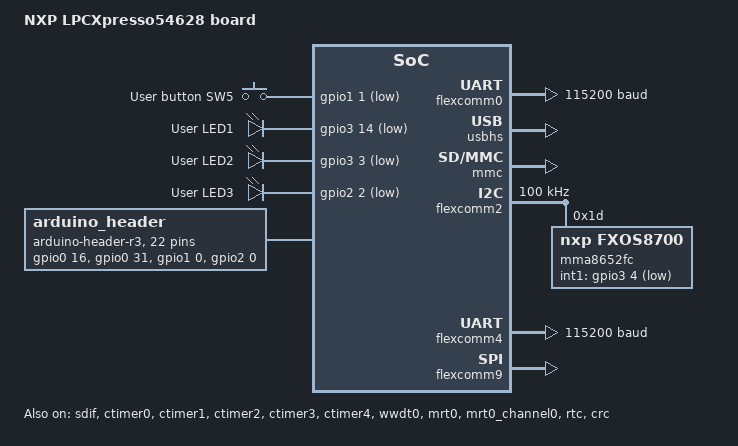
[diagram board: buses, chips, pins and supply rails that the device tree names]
/*
 * Copyright 2026 NXP
 *
 * SPDX-License-Identifier: Apache-2.0
 */

/dts-v1/;

#include <nxp/lpc/nxp_lpc546xx.dtsi>
#include <zephyr/dt-bindings/gpio/arduino-header-r3.h>
#include <zephyr/dt-bindings/i2c/i2c.h>
#include <zephyr/dt-bindings/input/input-event-codes.h>
#include "lpcxpresso54628-pinctrl.dtsi"

/ {
	compatible = "nxp,lpc546xx", "nxp,lpc";
	model = "NXP LPCXpresso54628 board";

	chosen {
		zephyr,sram = &sram0;
		zephyr,flash = &flash0;
		zephyr,console = &flexcomm0;
		zephyr,shell-uart = &flexcomm0;
	};

	aliases {
		led0 = &led1;
		led1 = &led2;
		led2 = &led3;
		usart-0 = &flexcomm0;
		sw0 = &user_button;
		accel0 = &mma8652fc;
		watchdog0 = &wwdt0;
		rtc = &rtc;
	};

	/*
	 * SW5 is the only usable push button. The ISP buttons SW2/SW3/SW4 are
	 * wired to P0_6/P0_5/P0_4, which this board uses as EMC_D4/EMC_D3/EMC_D2
	 * for the SDRAM, so they cannot be read as GPIO while the EMC is active
	 * and are intentionally not exposed here.
	 */
	gpio_keys {
		compatible = "gpio-keys";

		user_button: button_0 {
			label = "User button SW5";
			gpios = <&gpio1 1 (GPIO_ACTIVE_LOW | GPIO_PULL_UP)>;
			zephyr,code = <INPUT_KEY_0>;
		};
	};

	leds {
		compatible = "gpio-leds";

		led1: led_1 {
			gpios = <&gpio3 14 GPIO_ACTIVE_LOW>;
			label = "User LED1";
		};

		led2: led_2 {
			gpios = <&gpio3 3 GPIO_ACTIVE_LOW>;
			label = "User LED2";
		};

		led3: led_3 {
			gpios = <&gpio2 2 GPIO_ACTIVE_LOW>;
			label = "User LED3";
		};
	};

	/*
	 * Arduino Uno R3 footprint on the inner rows of J9, J10, J12 and J13.
	 * Several pins are shared with on-board functions: A4 is the
	 * accelerometer interrupt, A5 the user button SW5, D5 user LED1, and
	 * the I2C pins are the shared FlexComm2 bus.
	 */
	arduino_header: arduino-connector {
		compatible = "arduino-header-r3";
		#gpio-cells = <2>;
		gpio-map-mask = <0xffffffff 0xffffffc0>;
		gpio-map-pass-thru = <0 0x3f>;
		gpio-map = <ARDUINO_HEADER_R3_A0 0 &gpio0 16 0>,
			   <ARDUINO_HEADER_R3_A1 0 &gpio0 31 0>,
			   <ARDUINO_HEADER_R3_A2 0 &gpio1 0 0>,
			   <ARDUINO_HEADER_R3_A3 0 &gpio2 0 0>,
			   <ARDUINO_HEADER_R3_A4 0 &gpio3 4 0>,
			   <ARDUINO_HEADER_R3_A5 0 &gpio1 1 0>,
			   <ARDUINO_HEADER_R3_D0 0 &gpio3 26 0>,
			   <ARDUINO_HEADER_R3_D1 0 &gpio3 27 0>,
			   <ARDUINO_HEADER_R3_D2 0 &gpio3 2 0>,
			   <ARDUINO_HEADER_R3_D3 0 &gpio4 5 0>,
			   <ARDUINO_HEADER_R3_D4 0 &gpio3 10 0>,
			   <ARDUINO_HEADER_R3_D5 0 &gpio3 14 0>,
			   <ARDUINO_HEADER_R3_D6 0 &gpio3 1 0>,
			   <ARDUINO_HEADER_R3_D7 0 &gpio1 22 0>,
			   <ARDUINO_HEADER_R3_D8 0 &gpio4 7 0>,
			   <ARDUINO_HEADER_R3_D9 0 &gpio2 1 0>,
			   <ARDUINO_HEADER_R3_D10 0 &gpio3 30 0>,
			   <ARDUINO_HEADER_R3_D11 0 &gpio3 21 0>,
			   <ARDUINO_HEADER_R3_D12 0 &gpio3 22 0>,
			   <ARDUINO_HEADER_R3_D13 0 &gpio3 20 0>,
			   <ARDUINO_HEADER_R3_D14 0 &gpio3 23 0>,
			   <ARDUINO_HEADER_R3_D15 0 &gpio3 24 0>;
	};
};

&cpu0 {
	clock-frequency = <DT_FREQ_M(220)>;
};

/*
 * Default for this board is to use the full 160 KB of contiguous main SRAM
 * (SRAM0-3) as a single region; an application can provide its own devicetree
 * to allocate the SRAM banks differently.
 */
&sram0 {
	reg = <0x20000000 DT_SIZE_K(160)>;
};

&flexcomm0 {
	compatible = "nxp,lpc-usart";
	current-speed = <115200>;
	pinctrl-0 = <&pinmux_flexcomm0_usart>;
	pinctrl-names = "default";
	status = "okay";
};

&usbfs {
	pinctrl-0 = <&pinmux_usbfs>;
	pinctrl-names = "default";
};

zephyr_udc0: &usbhs {
	status = "okay";
};

/* Full-size SD card slot (J7), 4-bit SDIO. */
&sdif {
	pinctrl-0 = <&pinmux_sdif>;
	pinctrl-names = "default";
	status = "okay";

	mmc {
		compatible = "zephyr,sdmmc-disk";
		disk-name = "SD";
		status = "okay";
	};
};

arduino_i2c: &flexcomm2 {
	compatible = "nxp,lpc-i2c";
	clock-frequency = <I2C_BITRATE_STANDARD>;
	#address-cells = <1>;
	#size-cells = <0>;
	pinctrl-0 = <&pinmux_flexcomm2_i2c>;
	pinctrl-names = "default";
	status = "okay";

	/*
	 * NXP MMA8652FC 3-axis accelerometer. INT1 is wired to P3_4 and INT2 is
	 * unconnected. The pin interrupt engine can only select pins on ports 0
	 * and 1, so INT1 cannot raise a GPIO interrupt and the driver's trigger
	 * support is unavailable on this board.
	 */
	mma8652fc: mma8652fc@1d {
		compatible = "nxp,fxos8700", "nxp,mma8652fc";
		reg = <0x1d>;
		int1-gpios = <&gpio3 4 GPIO_ACTIVE_LOW>;
	};
};

/* Arduino D0 (RX) and D1 (TX). */
arduino_serial: &flexcomm4 {
	compatible = "nxp,lpc-usart";
	current-speed = <115200>;
	pinctrl-0 = <&pinmux_flexcomm4_usart>;
	pinctrl-names = "default";
};

/* Arduino D13 (SCK), D11 (MOSI), D12 (MISO) and D10 (SSEL0). */
arduino_spi: &flexcomm9 {
	compatible = "nxp,lpc-spi";
	#address-cells = <1>;
	#size-cells = <0>;
	pinctrl-0 = <&pinmux_flexcomm9_spi>;
	pinctrl-names = "default";
	status = "okay";
};

&ctimer0 {
	status = "okay";
};

&ctimer1 {
	status = "okay";
};

&ctimer2 {
	status = "okay";
};

&ctimer3 {
	status = "okay";
};

&ctimer4 {
	status = "okay";
};

&wwdt0 {
	status = "okay";
};

&mrt0 {
	status = "okay";
};

&mrt0_channel0 {
	status = "okay";
};

&rtc {
	status = "okay";
};

&crc {
	status = "okay";
};
